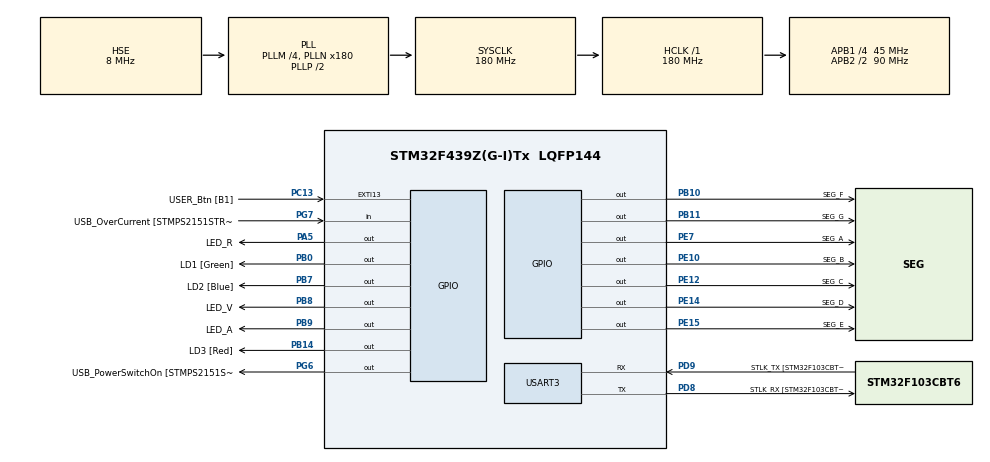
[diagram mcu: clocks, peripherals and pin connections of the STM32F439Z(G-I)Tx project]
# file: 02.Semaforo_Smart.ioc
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Mcu.Family=STM32F4
Mcu.Name=STM32F439Z(G-I)Tx
Mcu.Package=LQFP144
NVIC.PriorityGroup=NVIC_PRIORITYGROUP_4
PA13.GPIO_Label=TMS
PA13.Mode=Serial_Wire
PA13.Signal=SYS_JTMS-SWDIO
PA14.GPIO_Label=TCK
PA14.Mode=Serial_Wire
PA14.Signal=SYS_JTCK-SWCLK
PA5.GPIO_Label=LED_R
PA5.Signal=GPIO_Output
PB0.GPIO_Label=LD1 [Green]
PB0.Signal=GPIO_Output
PB10.GPIO_Label=SEG_F
PB10.Signal=GPIO_Output
PB11.GPIO_Label=SEG_G
PB11.Signal=GPIO_Output
PB14.GPIO_Label=LD3 [Red]
PB14.Signal=GPIO_Output
PB7.GPIO_Label=LD2 [Blue]
PB7.Signal=GPIO_Output
PB8.GPIO_Label=LED_V
PB8.Signal=GPIO_Output
PB9.GPIO_Label=LED_A
PB9.Signal=GPIO_Output
PC13.GPIO_Label=USER_Btn [B1]
PC13.Signal=GPXTI13
PC14/OSC32_IN.Mode=LSE-External-Oscillator
PC14/OSC32_IN.Signal=RCC_OSC32_IN
PC15/OSC32_OUT.Mode=LSE-External-Oscillator
PC15/OSC32_OUT.Signal=RCC_OSC32_OUT
PD8.GPIO_Label=STLK_RX [STM32F103CBT6_PA3]
PD8.Mode=Asynchronous
PD8.Signal=USART3_TX
PD9.GPIO_Label=STLK_TX [STM32F103CBT6_PA2]
PD9.Mode=Asynchronous
PD9.Signal=USART3_RX
PE10.GPIO_Label=SEG_B
PE10.Signal=GPIO_Output
PE12.GPIO_Label=SEG_C
PE12.Signal=GPIO_Output
PE14.GPIO_Label=SEG_D
PE14.Signal=GPIO_Output
PE15.GPIO_Label=SEG_E
PE15.Signal=GPIO_Output
PE7.GPIO_Label=SEG_A
PE7.Signal=GPIO_Output
PG6.GPIO_Label=USB_PowerSwitchOn [STMPS2151STR_EN]
PG6.Signal=GPIO_Output
PG7.GPIO_Label=USB_OverCurrent [STMPS2151STR_FAULT]
PG7.Signal=GPIO_Input
PH0/OSC_IN.GPIO_Label=MCO [STM32F103CBT6_PA8]
PH0/OSC_IN.Mode=HSE-External-Oscillator
PH0/OSC_IN.Signal=RCC_OSC_IN
PH1/OSC_OUT.Mode=HSE-External-Oscillator
PH1/OSC_OUT.Signal=RCC_OSC_OUT
ProjectManager.HeapSize=0x200
ProjectManager.StackSize=0x400
ProjectManager.TargetToolchain=STM32CubeIDE
RCC.48MHZClocksFreq_Value=51428571.428571425
RCC.AHBFreq_Value=180000000
RCC.APB1CLKDivider=RCC_HCLK_DIV4
RCC.APB1Freq_Value=45000000
RCC.APB1TimFreq_Value=90000000
RCC.APB2CLKDivider=RCC_HCLK_DIV2
RCC.APB2Freq_Value=90000000
RCC.APB2TimFreq_Value=180000000
RCC.CortexFreq_Value=180000000
RCC.HCLKFreq_Value=180000000
RCC.HSE_VALUE=8000000
RCC.HSI_VALUE=16000000
RCC.PLLM=4
RCC.PLLMUL=RCC_PLL_MUL9
RCC.PLLN=180
RCC.PLLQ=7
RCC.PLLSourceVirtual=RCC_PLLSOURCE_HSE
RCC.PRESCALERUSB=RCC_USBCLKSOURCE_PLL_DIV1_5
RCC.SYSCLKFreq_VALUE=180000000
RCC.SYSCLKSource=RCC_SYSCLKSOURCE_PLLCLK
RCC.SYSCLKSourceVirtual=RCC_SYSCLKSOURCE_PLLCLK
RCC.USBFreq_Value=48000000
RCC.VCOOutputFreq_Value=360000000
USART3.VirtualMode=VM_ASYNC
board=NUCLEO-F439ZI

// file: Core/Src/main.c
/* USER CODE BEGIN Header */
/**
 ******************************************************************************
 * @file           : main.c
 * @brief          : Main program body
 ******************************************************************************
 * @attention
 *
 * Copyright (c) 2026 STMicroelectronics.
 * All rights reserved.
 *
 * This software is licensed under terms that can be found in the LICENSE file
 * in the root directory of this software component.
 * If no LICENSE file comes with this software, it is provided AS-IS.
 *
 ******************************************************************************
 */
/* USER CODE END Header */
#include "main.h"

/* USER CODE BEGIN Includes */

#include <stdio.h>
#include <string.h>

/* USER CODE END Includes */

/* USER CODE BEGIN PTD */

/* --- Estructura para definir puertos y pines a usar --- */
typedef struct {
    GPIO_TypeDef* port;  // GPIOA, GPIOB, etc.
    uint16_t pin;       // GPIO_PIN_0, etc.
} GPIO_Config_t;

/* --- Estructura para definir un display de 7 segmentos--- */
typedef struct {
    GPIO_Config_t* leds; // Puntero a un arreglo de configuraciones
} LedBar_t;

/* --- ENUM con los estados del semaforo para controlar por MEF--- */
typedef enum {
	ESTADO_ROJO,
	ESTADO_PREVERDE,
	ESTADO_VERDE,
	ESTADO_AMARILLO,
} Semaforo_State_t;
/* USER CODE END PTD */

UART_HandleTypeDef huart3;

/* USER CODE BEGIN PV */

/* Mapa de bits para Cátodo Común (1 = Encendido) */
/* Orden de bits: 0 g f e d c b a */
const uint8_t segmento_map[] = {
    0x3F, // 0: 0011 1111
    0x06, // 1: 0000 0110
    0x5B, // 2: 0101 1011
    0x4F, // 3: 0100 1111
    0x66, // 4: 0110 0110
    0x6D, // 5: 0110 1101
    0x7D, // 6: 0111 1101
    0x07, // 7: 0000 0111
    0x7F, // 8: 0111 1111
    0x6F  // 9: 0110 1111
};

// --- Calcula automaticamente la cantidad de datos en el mapa de bits del display ---
#define MAX_DIGITOS (sizeof(segmento_map) / sizeof(segmento_map[0]))

// --- Mapeo físico: Conecta los segmentos A-G a los pines definidos en el .ioc ---
GPIO_Config_t pines_display[] = {
    {SEG_A_GPIO_Port, SEG_A_Pin}, // Segmento A
    {SEG_B_GPIO_Port, SEG_B_Pin}, // Segmento B
    {SEG_C_GPIO_Port, SEG_C_Pin}, // Segmento C
    {SEG_D_GPIO_Port, SEG_D_Pin}, // Segmento D
    {SEG_E_GPIO_Port, SEG_E_Pin}, // Segmento E
    {SEG_F_GPIO_Port, SEG_F_Pin}, // Segmento F
    {SEG_G_GPIO_Port, SEG_G_Pin}  // Segmento G
};

// --- Calcula automaticamente la cantidad de segmentos del display ---
#define SEGMENT_COUNT (sizeof(pines_display) / sizeof(pines_display[0]))

// --- Se crea una Instancia para el Display a partir de la estructura LedBar_t---
LedBar_t miDisplay = {pines_display, SEGMENT_COUNT};

// --- Se crea una Instancia de estado inicial para la MEF a partir del enum Semaforo_state_t ---
Semaforo_State_t estadoActual = ESTADO_ROJO;

/* USER CODE END PV */

void SystemClock_Config(void);
static void MX_GPIO_Init(void);
static void MX_USART3_UART_Init(void);
/* USER CODE BEGIN PFP */

/* Prototipos De Funciones a utilizar*/

/* --- Funcion para trabajar por UART --- */
void Debug_Log(const char *msg);

/* Función para escribir un digito en el display */
void Display_Write(uint8_t numero);

/* USER CODE END PFP */

/* USER CODE BEGIN 0 */

/* --- Definicion de la funcion para escribir un digito en el Display CATODO COMUN --- */
void Display_Write(uint8_t numero) {
    if (numero >= MAX_DIGITOS) return; // Protección

    uint8_t patron = segmento_map[numero];

    for (int i = 0; i < SEGMENT_COUNT; i++) {
        // Extraemos el bit 'i' usando desplazamiento y máscara
        uint8_t estado = (patron >> i) & 0x01;
        HAL_GPIO_WritePin(miDisplay.leds[i].port, miDisplay.leds[i].pin, estado);
    }
}

/* --- Definicion de la funcion para trabajar por UART --- */
void Debug_Log(const char *msg) {
	HAL_UART_Transmit(&huart3, (uint8_t*)msg, strlen(msg), 100);
}

/* USER CODE END 0 */

int main(void)
{

  /* MCU Configuration--------------------------------------------------------*/

  /* Reset of all peripherals, Initializes the Flash interface and the Systick. */
  HAL_Init();

  /* Configure the system clock */
  SystemClock_Config();

  /* Initialize all configured peripherals */
  MX_GPIO_Init();
  MX_USART3_UART_Init();

  /* Infinite loop */
	while (1)
	{

    /* USER CODE BEGIN 3 */

					/* --- Maquina de Estado --- */
	switch (estadoActual){
		case ESTADO_ROJO:
			Debug_Log("ESTADO: ROJO (Cruce peatonal habilitado)\r\n");
			HAL_GPIO_WritePin(LED_V_GPIO_Port, LED_V_Pin, GPIO_PIN_RESET);   // V: OFF
			HAL_GPIO_WritePin(LED_A_GPIO_Port, LED_A_Pin, GPIO_PIN_RESET); // A: OFF
			HAL_GPIO_WritePin(LED_R_GPIO_Port, LED_R_Pin, GPIO_PIN_SET); // R: ON

			// --- CUENTA REGRESIVA EN EL DISPLAY ---
			for (int i = 5; i >= 0; i--) {
				char msg_count[20];
				sprintf(msg_count, "Peaton: %d seg\r\n", i);
				Debug_Log(msg_count);

				Display_Write(i);  // Mostramos el número en el display
				HAL_Delay(1000);   // Esperamos 1 segundo
			}

			// Al terminar la cuenta, apagamos el display para indicar fin de cruce
			for (int j = 0; j < miDisplay.count; j++) {
				HAL_GPIO_WritePin(miDisplay.leds[j].port, miDisplay.leds[j].pin, GPIO_PIN_RESET);
			}
			estadoActual = ESTADO_PREVERDE;
			break;

		case ESTADO_PREVERDE:
			Debug_Log("ESTADO: Pre Verde (Preparese)\r\n");					// TENGO ROJO ENCENDIDO
			HAL_GPIO_WritePin(LED_V_GPIO_Port, LED_V_Pin, GPIO_PIN_RESET);		// V: OFF
			HAL_GPIO_WritePin(LED_A_GPIO_Port, LED_A_Pin, GPIO_PIN_SET);		// A: ON
			HAL_Delay(2000);
			estadoActual = ESTADO_VERDE;
			break;

		case ESTADO_VERDE:
			Debug_Log("ESTADO: VERDE (RUN)\r\n");
			HAL_GPIO_WritePin(LED_V_GPIO_Port, LED_V_Pin, GPIO_PIN_SET);		// V: ON
			HAL_GPIO_WritePin(LED_R_GPIO_Port, LED_R_Pin, GPIO_PIN_RESET);		// R: OFF
			HAL_GPIO_WritePin(LED_A_GPIO_Port, LED_A_Pin, GPIO_PIN_RESET);		// A: OFF
			HAL_Delay(8000);
			estadoActual = ESTADO_AMARILLO;
			break;

		case ESTADO_AMARILLO:
			Debug_Log("ESTADO: AMARILLO (Precaucion)\r\n");						//TENGO VERDE ENCENDIDO DEBO APAGARLO
			HAL_GPIO_WritePin(LED_V_GPIO_Port, LED_V_Pin, GPIO_PIN_RESET);		//A
			HAL_GPIO_WritePin(LED_A_GPIO_Port, LED_A_Pin, GPIO_PIN_SET);		//A: ON
			HAL_Delay(3000); // Tiempo normal de verde

			Debug_Log("LOGICA: Ciclo terminado. Reiniciando a ROJO...\r\n");
			estadoActual = ESTADO_ROJO;
			break;
		}
	}
  /* USER CODE END 3 */
}

void SystemClock_Config(void)
{
  RCC_OscInitTypeDef RCC_OscInitStruct = {0};
  RCC_ClkInitTypeDef RCC_ClkInitStruct = {0};

  /** Configure the main internal regulator output voltage
  */
  __HAL_RCC_PWR_CLK_ENABLE();
  __HAL_PWR_VOLTAGESCALING_CONFIG(PWR_REGULATOR_VOLTAGE_SCALE1);

  /** Initializes the RCC Oscillators according to the specified parameters
  * in the RCC_OscInitTypeDef structure.
  */
  RCC_OscInitStruct.OscillatorType = RCC_OSCILLATORTYPE_HSE;
  RCC_OscInitStruct.HSEState = RCC_HSE_ON;
  RCC_OscInitStruct.PLL.PLLState = RCC_PLL_ON;
  RCC_OscInitStruct.PLL.PLLSource = RCC_PLLSOURCE_HSE;
  RCC_OscInitStruct.PLL.PLLM = 4;
  RCC_OscInitStruct.PLL.PLLN = 180;
  RCC_OscInitStruct.PLL.PLLP = RCC_PLLP_DIV2;
  RCC_OscInitStruct.PLL.PLLQ = 7;
  if (HAL_RCC_OscConfig(&RCC_OscInitStruct) != HAL_OK)
  {
    Error_Handler();
  }

  /** Activate the Over-Drive mode
  */
  if (HAL_PWREx_EnableOverDrive() != HAL_OK)
  {
    Error_Handler();
  }

  /** Initializes the CPU, AHB and APB buses clocks
  */
  RCC_ClkInitStruct.ClockType = RCC_CLOCKTYPE_HCLK|RCC_CLOCKTYPE_SYSCLK
                              |RCC_CLOCKTYPE_PCLK1|RCC_CLOCKTYPE_PCLK2;
  RCC_ClkInitStruct.SYSCLKSource = RCC_SYSCLKSOURCE_PLLCLK;
  RCC_ClkInitStruct.AHBCLKDivider = RCC_SYSCLK_DIV1;
  RCC_ClkInitStruct.APB1CLKDivider = RCC_HCLK_DIV4;
  RCC_ClkInitStruct.APB2CLKDivider = RCC_HCLK_DIV2;

  if (HAL_RCC_ClockConfig(&RCC_ClkInitStruct, FLASH_LATENCY_5) != HAL_OK)
  {
    Error_Handler();
  }
}

static void MX_USART3_UART_Init(void)
{

  huart3.Instance = USART3;
  huart3.Init.BaudRate = 115200;
  huart3.Init.WordLength = UART_WORDLENGTH_8B;
  huart3.Init.StopBits = UART_STOPBITS_1;
  huart3.Init.Parity = UART_PARITY_NONE;
  huart3.Init.Mode = UART_MODE_TX_RX;
  huart3.Init.HwFlowCtl = UART_HWCONTROL_NONE;
  huart3.Init.OverSampling = UART_OVERSAMPLING_16;
  if (HAL_UART_Init(&huart3) != HAL_OK)
  {
    Error_Handler();
  }

}

static void MX_GPIO_Init(void)
{
  GPIO_InitTypeDef GPIO_InitStruct = {0};

  /* GPIO Ports Clock Enable */
  __HAL_RCC_GPIOC_CLK_ENABLE();
  __HAL_RCC_GPIOH_CLK_ENABLE();
  __HAL_RCC_GPIOA_CLK_ENABLE();
  __HAL_RCC_GPIOB_CLK_ENABLE();
  __HAL_RCC_GPIOE_CLK_ENABLE();
  __HAL_RCC_GPIOD_CLK_ENABLE();
  __HAL_RCC_GPIOG_CLK_ENABLE();

  /*Configure GPIO pin Output Level */
  HAL_GPIO_WritePin(LED_R_GPIO_Port, LED_R_Pin, GPIO_PIN_RESET);

  /*Configure GPIO pin Output Level */
  HAL_GPIO_WritePin(GPIOB, LD1_Pin|SEG_F_Pin|SEG_G_Pin|LD3_Pin
                          |LD2_Pin|LED_V_Pin|LED_A_Pin, GPIO_PIN_RESET);

  /*Configure GPIO pin Output Level */
  HAL_GPIO_WritePin(GPIOE, SEG_A_Pin|SEG_B_Pin|SEG_C_Pin|SEG_D_Pin
                          |SEG_E_Pin, GPIO_PIN_RESET);

  /*Configure GPIO pin Output Level */
  HAL_GPIO_WritePin(USB_PowerSwitchOn_GPIO_Port, USB_PowerSwitchOn_Pin, GPIO_PIN_RESET);

  /*Configure GPIO pin : USER_Btn_Pin */
  GPIO_InitStruct.Pin = USER_Btn_Pin;
  GPIO_InitStruct.Mode = GPIO_MODE_IT_RISING;
  GPIO_InitStruct.Pull = GPIO_NOPULL;
  HAL_GPIO_Init(USER_Btn_GPIO_Port, &GPIO_InitStruct);

  /*Configure GPIO pin : LED_R_Pin */
  GPIO_InitStruct.Pin = LED_R_Pin;
  GPIO_InitStruct.Mode = GPIO_MODE_OUTPUT_PP;
  GPIO_InitStruct.Pull = GPIO_NOPULL;
  GPIO_InitStruct.Speed = GPIO_SPEED_FREQ_LOW;
  HAL_GPIO_Init(LED_R_GPIO_Port, &GPIO_InitStruct);

  /*Configure GPIO pins : LD1_Pin SEG_F_Pin SEG_G_Pin LD3_Pin
                           LD2_Pin LED_V_Pin LED_A_Pin */
  GPIO_InitStruct.Pin = LD1_Pin|SEG_F_Pin|SEG_G_Pin|LD3_Pin
                          |LD2_Pin|LED_V_Pin|LED_A_Pin;
  GPIO_InitStruct.Mode = GPIO_MODE_OUTPUT_PP;
  GPIO_InitStruct.Pull = GPIO_NOPULL;
  GPIO_InitStruct.Speed = GPIO_SPEED_FREQ_LOW;
  HAL_GPIO_Init(GPIOB, &GPIO_InitStruct);

  /*Configure GPIO pins : SEG_A_Pin SEG_B_Pin SEG_C_Pin SEG_D_Pin
                           SEG_E_Pin */
  GPIO_InitStruct.Pin = SEG_A_Pin|SEG_B_Pin|SEG_C_Pin|SEG_D_Pin
                          |SEG_E_Pin;
  GPIO_InitStruct.Mode = GPIO_MODE_OUTPUT_PP;
  GPIO_InitStruct.Pull = GPIO_NOPULL;
  GPIO_InitStruct.Speed = GPIO_SPEED_FREQ_LOW;
  HAL_GPIO_Init(GPIOE, &GPIO_InitStruct);

  /*Configure GPIO pin : USB_PowerSwitchOn_Pin */
  GPIO_InitStruct.Pin = USB_PowerSwitchOn_Pin;
  GPIO_InitStruct.Mode = GPIO_MODE_OUTPUT_PP;
  GPIO_InitStruct.Pull = GPIO_NOPULL;
  GPIO_InitStruct.Speed = GPIO_SPEED_FREQ_LOW;
  HAL_GPIO_Init(USB_PowerSwitchOn_GPIO_Port, &GPIO_InitStruct);

  /*Configure GPIO pin : USB_OverCurrent_Pin */
  GPIO_InitStruct.Pin = USB_OverCurrent_Pin;
  GPIO_InitStruct.Mode = GPIO_MODE_INPUT;
  GPIO_InitStruct.Pull = GPIO_NOPULL;
  HAL_GPIO_Init(USB_OverCurrent_GPIO_Port, &GPIO_InitStruct);

}

void Error_Handler(void)
{
	__disable_irq();
	while (1)
	{
	}
}
